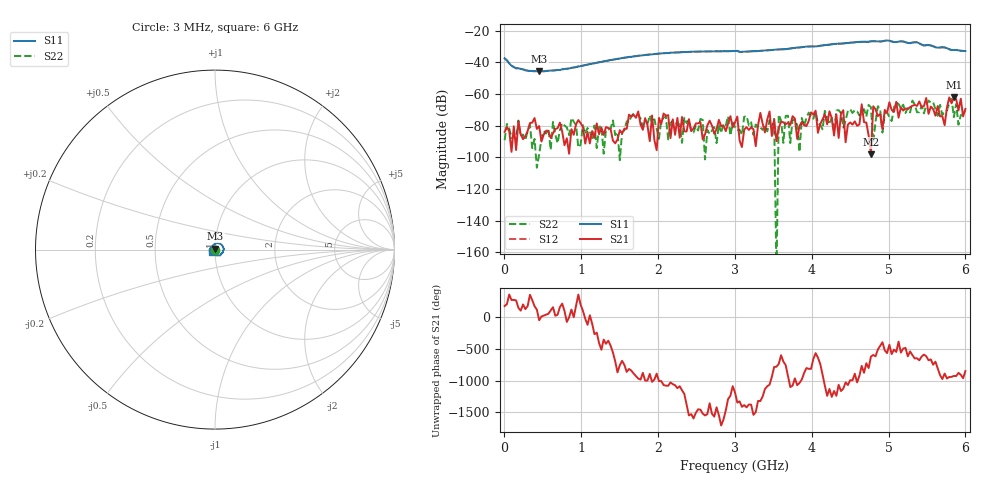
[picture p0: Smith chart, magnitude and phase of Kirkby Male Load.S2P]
! C:\data\cal kit\Siglent Cal Kit\Kirkby Male Load.S2P
! Touchstone 1.1 file saved by VNA.EXE V1.60 (www.ke5fx.com/gpib/readme.htm)
! 26/07/2019 10:53:17 a.m.
!  Source: HEWLETT PACKARD,8753C,0,4.12
!  Min freq: 3.000000E+006 Hz
!  Max freq: 6.000000E+009 Hz
!  Points: 201
!  Params: S11 S21 S12 S22
# GHZ S DB R 50
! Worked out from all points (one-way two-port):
!   201 points, 3 MHz to 6 GHz, reference 50 ohm
!   highest |S21| = -61.83 dB at 5.85 GHz (marker M1); lowest = -97.9 dB at 4.771 GHz (marker M2)
!   lowest |S11| = -45.6 dB at 452.8 MHz (marker M3), VSWR 1.01, Z = 50.1 + j0.512 ohm
!   |S11| at or under -10 dB: start of sweep to end of sweep
!   |S22| runs from -174.4 to -63.0 dB; largest |S21 - S12| = 0.049
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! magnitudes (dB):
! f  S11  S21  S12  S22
! 3 MHz  -37.4  -83.9  -37.4  -89.1
! 452.8 MHz  -45.6  -80.2  -45.6  -97.9
! 1.022 GHz  -42.1  -80.8  -41.9  -79.7
! 2.012 GHz  -34.4  -75.0  -34.5  -88.2
! 3.002 GHz  -32.8  -77.9  -32.8  -80.7
! 4.021 GHz  -29.8  -72.8  -29.9  -75.5
! 4.591 GHz  -27.1  -80.0  -27.1  -70.9
! 4.651 GHz  -27.0  -66.5  -26.9  -72.6
! 4.771 GHz  -26.6  -97.9  -26.7  -68.2
! 4.801 GHz  -26.6  -67.7  -26.5  -90.7
! 4.861 GHz  -26.7  -73.9  -26.7  -67.6
! 4.921 GHz  -26.6  -82.3  -26.6  -84.3
! 5.01 GHz  -26.2  -65.2  -26.3  -74.4
! 5.13 GHz  -26.8  -74.9  -26.8  -66.3
! 5.49 GHz  -29.1  -62.5  -29.1  -67.1
! 5.52 GHz  -29.1  -72.5  -29.0  -64.2
! 5.64 GHz  -30.6  -67.5  -30.6  -73.7
! 5.73 GHz  -30.6  -79.7  -30.5  -70.8
! 5.79 GHz  -31.6  -62.1  -31.7  -65.8
! 5.82 GHz  -32.2  -65.8  -32.0  -63.0
! 5.85 GHz  -32.2  -61.8  -32.1  -74.6
! 6 GHz  -32.8  -69.4  -32.8  -69.8
